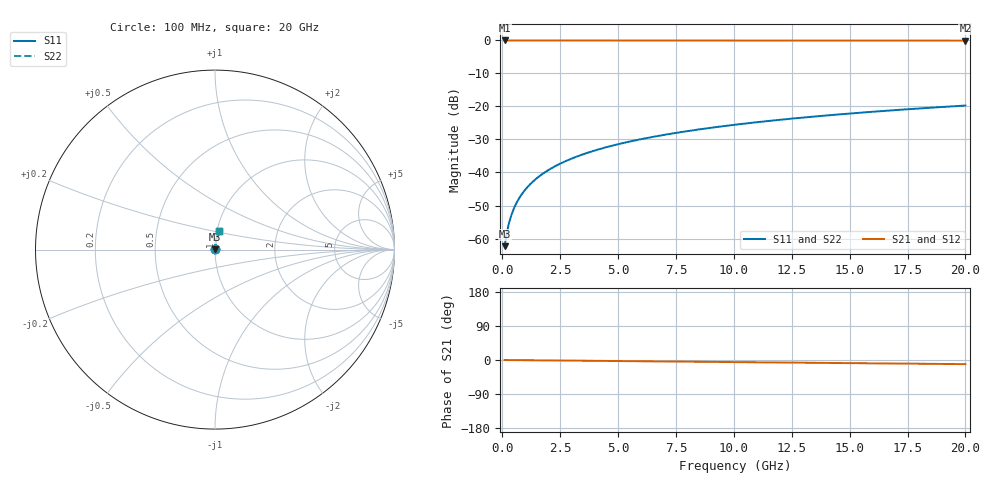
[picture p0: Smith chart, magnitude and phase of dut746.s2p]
! Touchstone file exported from HFSS 2026.1.0
!  File:  C:/ffzhzh/LocalFiles/Ansys_Project_Files/temp_train_TSV_746_1783182909_22436.aedt
!  Generated:  12:37:03 AM Jul  5, 2026
!  Design:  TSV
!  Project:  temp_train_TSV_746_1783182909_22436
! Variables:
!  h_bsmrdl = 2um
!  h_ox = 20um
!  h_rdl = 5um
!  h_sub = 90.16um
!  h_tmrdl = 5um
!  h_tsv = 90.16um
!  h_via = 3um
!  l_bsmrdl = 300um
!  l_sub = 409.18um
!  l_tmrdl = 200um
!  m_sub = 200um
!  pitch = 48.33um
!  r_tsv = 4.59um
!  s_tmrdl = 10um
!  w_bsmrdl = 18um
!  w_sub = 500um
!  w_tmrdl = 12um
!  x_tsv_center1 = 206um
!  x_tsv_center2 = 524um
!  x_tsv_center3 = 736um
!  x_tsv_center4 = 1054um
!  x_tsv_center5 = 1266um
!  x_tsv_center6 = 1584um
# GHz S MA R 50.000000
! Terminal data exported
! Port[1] = TSV1_1_T1
! Port[2] = TSV1_1_T2
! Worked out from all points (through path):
!   200 points, 100 MHz to 20 GHz, reference 50 ohm
!   highest |S21| = 0.00 dB at 100 MHz (marker M1); lowest = -0.1 dB at 20 GHz (marker M2)
!   group delay of S21, straight-line fit = 1.52 ps
!   lowest |S11| = -62.3 dB at 100 MHz (marker M3), VSWR 1.00, Z = 50.1 + j0.0565 ohm
!   |S11| at or under -10 dB: start of sweep to end of sweep
!   |S22| runs from -62.3 to -19.7 dB; largest |S21 - S12| = 6.2e-15
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0.1  0.0007659 47.4  0.9995 -0.1  0.9995 -0.1  0.0007659 47.4
! Gamma 0 0 0 0
! Port Impedance 50 0 50 0
0.2  0.001244 64.8  0.9995 -0.1  0.9995 -0.1  0.001244 64.8
0.3  0.001769 72.1  0.9995 -0.2  0.9995 -0.2  0.001769 72.1
0.4  0.002307 75.9  0.9994 -0.2  0.9994 -0.2  0.002307 75.9
0.5  0.002847 78.2  0.9994 -0.3  0.9994 -0.3  0.002847 78.2
0.7  0.003928 80.8  0.9994 -0.4  0.9994 -0.4  0.003928 80.8
0.8  0.004468 81.6  0.9994 -0.5  0.9994 -0.5  0.004468 81.6
1  0.005547 82.8  0.9993 -0.6  0.9993 -0.6  0.005547 82.8
1.2  0.006626 83.5  0.9993 -0.7  0.9993 -0.7  0.006626 83.5
1.4  0.007704 84.0  0.9993 -0.8  0.9993 -0.8  0.007704 84.0
1.7  0.00932 84.5  0.9992 -1.0  0.9992 -1.0  0.00932 84.5
2  0.01093 84.8  0.9992 -1.1  0.9992 -1.1  0.01093 84.8
2.7  0.01468 85.0  0.999 -1.5  0.999 -1.5  0.01468 85.0
3.5  0.01893 85.0  0.9988 -2.0  0.9988 -2.0  0.01893 85.0
4.2  0.02262 84.8  0.9986 -2.3  0.9986 -2.3  0.02262 84.8
5  0.02681 84.5  0.9984 -2.8  0.9984 -2.8  0.02681 84.5
6.8  0.03617 83.9  0.9978 -3.8  0.9978 -3.8  0.03617 83.9
8.3  0.04391 83.2  0.9974 -4.6  0.9974 -4.6  0.04391 83.2
10.1  0.05316 82.5  0.9968 -5.6  0.9968 -5.6  0.05316 82.5
13.4  0.07003 80.9  0.9955 -7.4  0.9955 -7.4  0.07003 80.9
16.7  0.08673 79.3  0.9939 -9.2  0.9939 -9.2  0.08673 79.3
20  0.1033 77.6  0.9921 -10.9  0.9921 -10.9  0.1033 77.6
